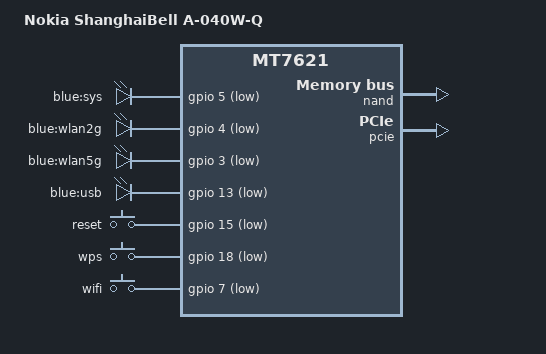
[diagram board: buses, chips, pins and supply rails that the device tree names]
#include "mt7621.dtsi"

#include <dt-bindings/gpio/gpio.h>
#include <dt-bindings/input/input.h>

/ {
	compatible = "nokia-sbell,a040wq", "mediatek,mt7621-soc";
	model = "Nokia ShanghaiBell A-040W-Q";

	aliases {
		label-mac-device = &gmac0;

		led-boot = &led_sys;
		led-failsafe = &led_sys;
		led-running = &led_sys;
		led-upgrade = &led_sys;
	};

	chosen {
		bootargs = "console=ttyS0,115200";
	};

	leds {
		compatible = "gpio-leds";

		led_sys: sys {
			label = "blue:sys";
			gpios = <&gpio 5 GPIO_ACTIVE_LOW>;//power led is always on, this #GPIO is randomly selected.
		};

		wlan2g {
			label = "blue:wlan2g";
			gpios = <&gpio 4 GPIO_ACTIVE_LOW>;
		};

		wlan5g {
			label = "blue:wlan5g";
			gpios = <&gpio 3 GPIO_ACTIVE_LOW>;
		};

		led_usb: usb {
			label = "blue:usb";
			gpios = <&gpio 13 GPIO_ACTIVE_LOW>;
			trigger-sources = <&xhci_ehci_port1>, <&ehci_port2>;
			linux,default-trigger = "usbport";
		};
	};

	keys {
		compatible = "gpio-keys";

		reset {
			label = "reset";
			gpios = <&gpio 15 GPIO_ACTIVE_LOW>;
			linux,code = <KEY_RESTART>;
		};

		wps {
			label = "wps";
			gpios = <&gpio 18 GPIO_ACTIVE_LOW>;
			linux,code = <KEY_WPS_BUTTON>;
		};

		wifi {
			label = "wifi";
			gpios = <&gpio 7 GPIO_ACTIVE_LOW>;
			linux,code = <KEY_RFKILL>;
		};
	};
};

&nand {
	status = "okay";

	partitions {
		compatible = "fixed-partitions";
		#address-cells = <1>;
		#size-cells = <1>;

		partition@0 {
			label = "u-boot";
			reg = <0x0 0x80000>;
			read-only;
		};

		partition@80000 {
			label = "u-boot-env";
			reg = <0x80000 0x80000>;
			read-only;
		};

		factory: partition@100000 {
			label = "factory";
			reg = <0x100000 0x40000>;
			read-only;
		};

		partition@140000 {
			label = "kernel";
			reg = <0x140000 0x400000>;
		};

		partition@540000 {
			label = "ubi";
			reg = <0x540000 0x7A00000>;
		};
	};
};

&pcie {
	status = "okay";
};

&pcie0 {
	mt76@0,0 {
		reg = <0x0000 0 0 0 0>;
		mediatek,mtd-eeprom = <&factory 0x0000>;
		/*led {
			led-sources = <3>;
			led-active-low;
		};*/
	};
};

&gmac0 {
	nvmem-cells = <&macaddr_factory_e000>;
	nvmem-cell-names = "mac-address";
};

&switch0 {
	ports {
		port@0 {
			status = "okay";
			label = "lan4";
		};

		port@1 {
			status = "okay";
			label = "lan3";
		};

		port@2 {
			status = "okay";
			label = "lan2";
		};

		port@3 {
			status = "okay";
			label = "lan1";
		};

		port@4 {
			status = "okay";
			label = "wan";
			nvmem-cells = <&macaddr_factory_e006>;
			nvmem-cell-names = "mac-address";
		};
	};
};

&state_default {
	gpio {
		groups = "i2c", "jtag", "uart2", "uart3", "wdt";
		function = "gpio";
	};
};

&factory {
	compatible = "nvmem-cells";
	#address-cells = <1>;
	#size-cells = <1>;

	macaddr_factory_e000: macaddr@e000 {
		reg = <0xe000 0x6>;
	};

	macaddr_factory_e006: macaddr@e006 {
		reg = <0xe006 0x6>;
	};
};
